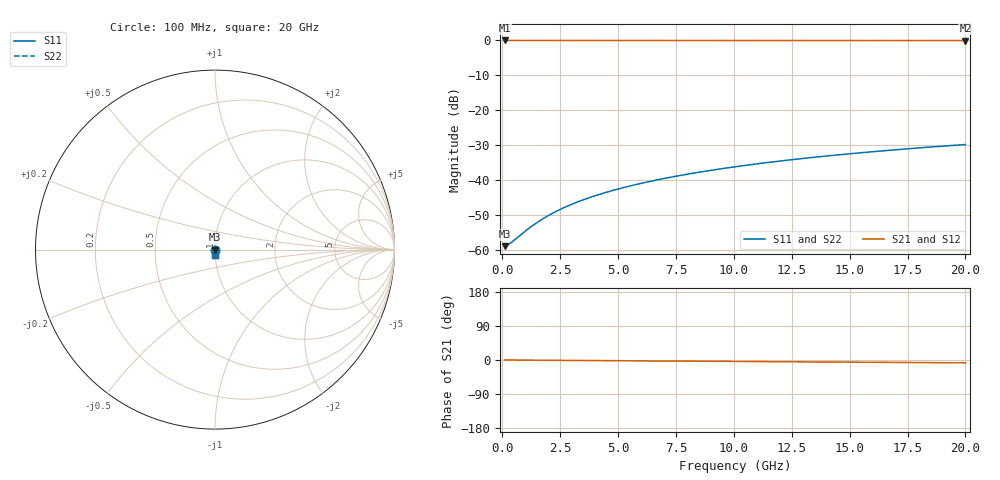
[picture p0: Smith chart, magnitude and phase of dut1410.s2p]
! Touchstone file exported from HFSS 2026.1.0
!  File:  C:/ffzhzh/LocalFiles/Ansys_Project_Files/temp_train_TSV_1410_1783197037_51560.aedt
!  Generated:  04:32:29 AM Jul  5, 2026
!  Design:  TSV
!  Project:  temp_train_TSV_1410_1783197037_51560
! Variables:
!  h_bsmrdl = 2um
!  h_ox = 20um
!  h_rdl = 5um
!  h_sub = 80.04um
!  h_tmrdl = 5um
!  h_tsv = 80.04um
!  h_via = 3um
!  l_bsmrdl = 300um
!  l_sub = 405.78um
!  l_tmrdl = 200um
!  m_sub = 200um
!  pitch = 9.2um
!  r_tsv = 2.89um
!  s_tmrdl = 10um
!  w_bsmrdl = 18um
!  w_sub = 500um
!  w_tmrdl = 12um
!  x_tsv_center1 = 206um
!  x_tsv_center2 = 524um
!  x_tsv_center3 = 736um
!  x_tsv_center4 = 1054um
!  x_tsv_center5 = 1266um
!  x_tsv_center6 = 1584um
# GHz S MA R 50.000000
! Terminal data exported
! Port[1] = TSV1_1_T1
! Port[2] = TSV1_1_T2
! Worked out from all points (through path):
!   200 points, 100 MHz to 20 GHz, reference 50 ohm
!   highest |S21| = -0.01 dB at 100 MHz (marker M1); lowest = 0.0 dB at 20 GHz (marker M2)
!   group delay of S21, straight-line fit = 1.04 ps
!   lowest |S11| = -59.0 dB at 100 MHz (marker M3), VSWR 1.00, Z = 50.1 - j0.00985 ohm
!   |S11| at or under -10 dB: start of sweep to end of sweep
!   |S22| runs from -59.0 to -29.8 dB; largest |S21 - S12| = 3.4e-15
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0.1  0.001128 -5.0  0.9989 -0.0  0.9989 -0.0  0.001128 -5.0
! Gamma 0 0 0 0
! Port Impedance 50 0 50 0
0.2  0.001162 -10.1  0.9989 -0.1  0.9989 -0.1  0.001162 -10.1
0.4  0.001283 -20.4  0.9988 -0.2  0.9988 -0.2  0.001283 -20.4
1.2  0.00209 -50.1  0.9986 -0.5  0.9986 -0.5  0.00209 -50.1
1.5  0.002459 -56.3  0.9986 -0.6  0.9986 -0.6  0.002459 -56.3
1.9  0.002977 -62.1  0.9986 -0.7  0.9986 -0.7  0.002977 -62.1
2.2  0.00338 -65.3  0.9985 -0.9  0.9985 -0.9  0.00338 -65.3
2.6  0.003931 -68.5  0.9985 -1.0  0.9985 -1.0  0.003931 -68.5
3  0.004494 -70.9  0.9984 -1.2  0.9984 -1.2  0.004494 -70.9
3.5  0.005211 -73.1  0.9984 -1.3  0.9984 -1.3  0.005211 -73.1
4.2  0.006236 -75.4  0.9982 -1.6  0.9982 -1.6  0.006236 -75.4
5  0.007435 -77.3  0.9981 -1.9  0.9981 -1.9  0.007435 -77.3
5.9  0.008813 -78.9  0.9979 -2.3  0.9979 -2.3  0.008813 -78.9
6.8  0.01022 -80.1  0.9977 -2.6  0.9977 -2.6  0.01022 -80.1
7.6  0.01149 -81.0  0.9976 -2.9  0.9976 -2.9  0.01149 -81.0
8.4  0.01278 -81.8  0.9974 -3.2  0.9974 -3.2  0.01278 -81.8
10.1  0.01556 -83.4  0.9971 -3.8  0.9971 -3.8  0.01556 -83.4
11.7  0.01821 -84.6  0.9967 -4.4  0.9967 -4.4  0.01821 -84.6
13.4  0.02107 -85.9  0.9964 -5.1  0.9964 -5.1  0.02107 -85.9
15  0.02377 -86.9  0.9961 -5.7  0.9961 -5.7  0.02377 -87.0
16.7  0.02665 -88.0  0.9958 -6.3  0.9958 -6.3  0.02665 -88.0
20  0.03225 -90.0  0.9953 -7.5  0.9953 -7.5  0.03225 -90.0
